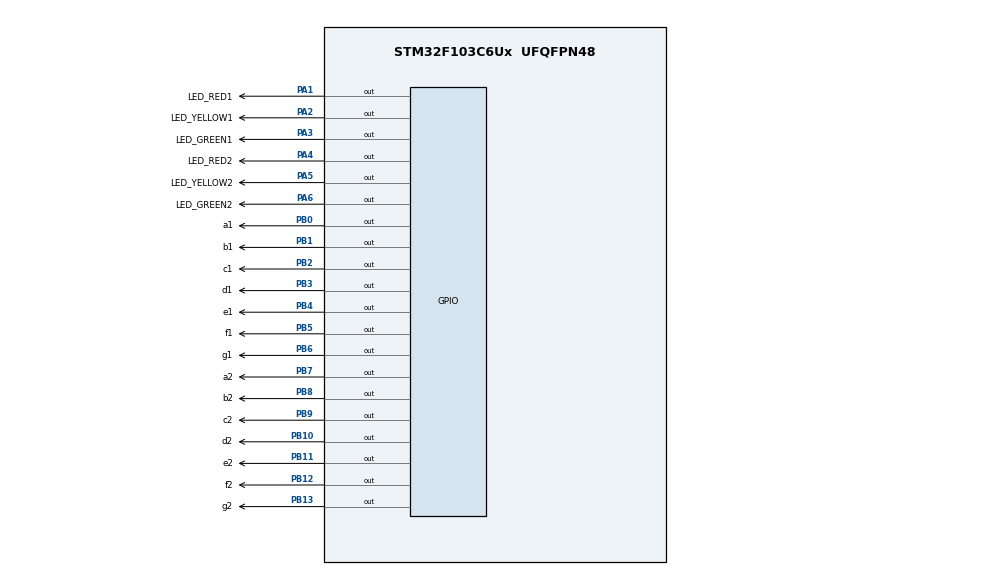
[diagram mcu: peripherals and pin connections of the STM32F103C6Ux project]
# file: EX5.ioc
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Mcu.Family=STM32F1
Mcu.Name=STM32F103C6Ux
Mcu.Package=UFQFPN48
NVIC.PriorityGroup=NVIC_PRIORITYGROUP_4
PA1.GPIO_Label=LED_RED1
PA1.Signal=GPIO_Output
PA2.GPIO_Label=LED_YELLOW1
PA2.Signal=GPIO_Output
PA3.GPIO_Label=LED_GREEN1
PA3.Signal=GPIO_Output
PA4.GPIO_Label=LED_RED2
PA4.Signal=GPIO_Output
PA5.GPIO_Label=LED_YELLOW2
PA5.Signal=GPIO_Output
PA6.GPIO_Label=LED_GREEN2
PA6.Signal=GPIO_Output
PB0.GPIO_Label=a1
PB0.Signal=GPIO_Output
PB1.GPIO_Label=b1
PB1.Signal=GPIO_Output
PB10.GPIO_Label=d2
PB10.Signal=GPIO_Output
PB11.GPIO_Label=e2
PB11.Signal=GPIO_Output
PB12.GPIO_Label=f2
PB12.Signal=GPIO_Output
PB13.GPIO_Label=g2
PB13.Signal=GPIO_Output
PB2.GPIO_Label=c1
PB2.Signal=GPIO_Output
PB3.GPIO_Label=d1
PB3.Signal=GPIO_Output
PB4.GPIO_Label=e1
PB4.Signal=GPIO_Output
PB5.GPIO_Label=f1
PB5.Signal=GPIO_Output
PB6.GPIO_Label=g1
PB6.Signal=GPIO_Output
PB7.GPIO_Label=a2
PB7.Signal=GPIO_Output
PB8.GPIO_Label=b2
PB8.Signal=GPIO_Output
PB9.GPIO_Label=c2
PB9.Signal=GPIO_Output
ProjectManager.HeapSize=0x200
ProjectManager.StackSize=0x400
ProjectManager.TargetToolchain=STM32CubeIDE
RCC.APB1Freq_Value=8000000
RCC.APB2Freq_Value=8000000
VP_SYS_VS_ND.Mode=No_Debug
board=custom

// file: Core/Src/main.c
/* USER CODE BEGIN Header */
/**
  ******************************************************************************
  * @file           : main.c
  * @brief          : Main program body
  ******************************************************************************
  * @attention
  *
  * <h2><center>&copy; Copyright (c) 2026 STMicroelectronics.
  * All rights reserved.</center></h2>
  *
  * This software component is licensed by ST under BSD 3-Clause license,
  * the "License"; You may not use this file except in compliance with the
  * License. You may obtain a copy of the License at:
  *                        opensource.org/licenses/BSD-3-Clause
  *
  ******************************************************************************
  */
/* USER CODE END Header */
#include "main.h"

/* USER CODE BEGIN Includes */
void TrafficLight(uint8_t r1, uint8_t y1, uint8_t g1,
                  uint8_t r2, uint8_t y2, uint8_t g2)
{
    HAL_GPIO_WritePin(GPIOA, LED_RED1_Pin,    r1 ? GPIO_PIN_SET : GPIO_PIN_RESET);
    HAL_GPIO_WritePin(GPIOA, LED_YELLOW1_Pin, y1 ? GPIO_PIN_SET : GPIO_PIN_RESET);
    HAL_GPIO_WritePin(GPIOA, LED_GREEN1_Pin,  g1 ? GPIO_PIN_SET : GPIO_PIN_RESET);

    HAL_GPIO_WritePin(GPIOA, LED_RED2_Pin,    r2 ? GPIO_PIN_SET : GPIO_PIN_RESET);
    HAL_GPIO_WritePin(GPIOA, LED_YELLOW2_Pin, y2 ? GPIO_PIN_SET : GPIO_PIN_RESET);
    HAL_GPIO_WritePin(GPIOA, LED_GREEN2_Pin,  g2 ? GPIO_PIN_SET : GPIO_PIN_RESET);
}

uint8_t SEG = 1;

void display7SEG(int num)
{
    const uint8_t code[10][7] = {
        {1,1,1,1,1,1,0}, //0
        {0,1,1,0,0,0,0}, //1
        {1,1,0,1,1,0,1}, //2
        {1,1,1,1,0,0,1}, //3
        {0,1,1,0,0,1,1}, //4
        {1,0,1,1,0,1,1}, //5
        {1,0,1,1,1,1,1}, //6
        {1,1,1,0,0,0,0}, //7
        {1,1,1,1,1,1,1}, //8
        {1,1,1,1,0,1,1}  //9
    };

    uint16_t pin[7];

    if (SEG == 1) {
        pin[0]=a1_Pin; pin[1]=b1_Pin; pin[2]=c1_Pin;
        pin[3]=d1_Pin; pin[4]=e1_Pin; pin[5]=f1_Pin; pin[6]=g1_Pin;
    } else {
        pin[0]=a2_Pin; pin[1]=b2_Pin; pin[2]=c2_Pin;
        pin[3]=d2_Pin; pin[4]=e2_Pin; pin[5]=f2_Pin; pin[6]=g2_Pin;
    }

    for (int i = 0; i < 7; i++)
    {
        HAL_GPIO_WritePin(GPIOB, pin[i],
            code[num][i] ? GPIO_PIN_RESET : GPIO_PIN_SET);
    }
}
/* USER CODE END Includes */

void SystemClock_Config(void);
static void MX_GPIO_Init(void);

int main(void)
{

  /* MCU Configuration--------------------------------------------------------*/

  /* Reset of all peripherals, Initializes the Flash interface and the Systick. */
  HAL_Init();

  /* Configure the system clock */
  SystemClock_Config();

  /* Initialize all configured peripherals */
  MX_GPIO_Init();

  /* Infinite loop */
  while (1)
  {
	    TrafficLight(0,0,1, 1,0,0);

	    SEG = 1; display7SEG(3);
	    SEG = 2; display7SEG(5);
	    HAL_Delay(1000);

	    SEG = 1; display7SEG(2);
	    SEG = 2; display7SEG(4);
	    HAL_Delay(1000);

	    SEG = 1; display7SEG(1);
	    SEG = 2; display7SEG(3);
	    HAL_Delay(1000);

	    TrafficLight(0,1,0, 1,0,0);

	    SEG = 1; display7SEG(2);
	    SEG = 2; display7SEG(2);
	    HAL_Delay(1000);

	    SEG = 1; display7SEG(1);
	    SEG = 2; display7SEG(1);
	    HAL_Delay(1000);

	    TrafficLight(1,0,0, 0,0,1);

	    SEG = 1; display7SEG(5);
	    SEG = 2; display7SEG(3);
	    HAL_Delay(1000);

	    SEG = 1; display7SEG(4);
	    SEG = 2; display7SEG(2);
	    HAL_Delay(1000);

	    SEG = 1; display7SEG(3);
	    SEG = 2; display7SEG(1);
	    HAL_Delay(1000);

	    TrafficLight(1,0,0, 0,1,0);

	    SEG = 1; display7SEG(2);
	    SEG = 2; display7SEG(2);
	    HAL_Delay(1000);

	    SEG = 1; display7SEG(1);
	    SEG = 2; display7SEG(1);
	    HAL_Delay(1000);

  }
}

void SystemClock_Config(void)
{
  RCC_OscInitTypeDef RCC_OscInitStruct = {0};
  RCC_ClkInitTypeDef RCC_ClkInitStruct = {0};

  /** Initializes the RCC Oscillators according to the specified parameters
  * in the RCC_OscInitTypeDef structure.
  */
  RCC_OscInitStruct.OscillatorType = RCC_OSCILLATORTYPE_HSI;
  RCC_OscInitStruct.HSIState = RCC_HSI_ON;
  RCC_OscInitStruct.HSICalibrationValue = RCC_HSICALIBRATION_DEFAULT;
  RCC_OscInitStruct.PLL.PLLState = RCC_PLL_NONE;
  if (HAL_RCC_OscConfig(&RCC_OscInitStruct) != HAL_OK)
  {
    Error_Handler();
  }
  /** Initializes the CPU, AHB and APB buses clocks
  */
  RCC_ClkInitStruct.ClockType = RCC_CLOCKTYPE_HCLK|RCC_CLOCKTYPE_SYSCLK
                              |RCC_CLOCKTYPE_PCLK1|RCC_CLOCKTYPE_PCLK2;
  RCC_ClkInitStruct.SYSCLKSource = RCC_SYSCLKSOURCE_HSI;
  RCC_ClkInitStruct.AHBCLKDivider = RCC_SYSCLK_DIV1;
  RCC_ClkInitStruct.APB1CLKDivider = RCC_HCLK_DIV1;
  RCC_ClkInitStruct.APB2CLKDivider = RCC_HCLK_DIV1;

  if (HAL_RCC_ClockConfig(&RCC_ClkInitStruct, FLASH_LATENCY_0) != HAL_OK)
  {
    Error_Handler();
  }
}

static void MX_GPIO_Init(void)
{
  GPIO_InitTypeDef GPIO_InitStruct = {0};

  /* GPIO Ports Clock Enable */
  __HAL_RCC_GPIOA_CLK_ENABLE();
  __HAL_RCC_GPIOB_CLK_ENABLE();

  /*Configure GPIO pin Output Level */
  HAL_GPIO_WritePin(GPIOA, LED_RED1_Pin|LED_YELLOW1_Pin|LED_GREEN1_Pin|LED_RED2_Pin
                          |LED_YELLOW2_Pin|LED_GREEN2_Pin, GPIO_PIN_RESET);

  /*Configure GPIO pin Output Level */
  HAL_GPIO_WritePin(GPIOB, a1_Pin|b1_Pin|c1_Pin|d2_Pin
                          |e2_Pin|f2_Pin|g2_Pin|d1_Pin
                          |e1_Pin|f1_Pin|g1_Pin|a2_Pin
                          |b2_Pin|c2_Pin, GPIO_PIN_RESET);

  /*Configure GPIO pins : LED_RED1_Pin LED_YELLOW1_Pin LED_GREEN1_Pin LED_RED2_Pin
                           LED_YELLOW2_Pin LED_GREEN2_Pin */
  GPIO_InitStruct.Pin = LED_RED1_Pin|LED_YELLOW1_Pin|LED_GREEN1_Pin|LED_RED2_Pin
                          |LED_YELLOW2_Pin|LED_GREEN2_Pin;
  GPIO_InitStruct.Mode = GPIO_MODE_OUTPUT_PP;
  GPIO_InitStruct.Pull = GPIO_NOPULL;
  GPIO_InitStruct.Speed = GPIO_SPEED_FREQ_LOW;
  HAL_GPIO_Init(GPIOA, &GPIO_InitStruct);

  /*Configure GPIO pins : a1_Pin b1_Pin c1_Pin d2_Pin
                           e2_Pin f2_Pin g2_Pin d1_Pin
                           e1_Pin f1_Pin g1_Pin a2_Pin
                           b2_Pin c2_Pin */
  GPIO_InitStruct.Pin = a1_Pin|b1_Pin|c1_Pin|d2_Pin
                          |e2_Pin|f2_Pin|g2_Pin|d1_Pin
                          |e1_Pin|f1_Pin|g1_Pin|a2_Pin
                          |b2_Pin|c2_Pin;
  GPIO_InitStruct.Mode = GPIO_MODE_OUTPUT_PP;
  GPIO_InitStruct.Pull = GPIO_NOPULL;
  GPIO_InitStruct.Speed = GPIO_SPEED_FREQ_LOW;
  HAL_GPIO_Init(GPIOB, &GPIO_InitStruct);

}

void Error_Handler(void)
{
  __disable_irq();
  while (1)
  {
  }
}

/************************ (C) COPYRIGHT STMicroelectronics *****END OF FILE****/
